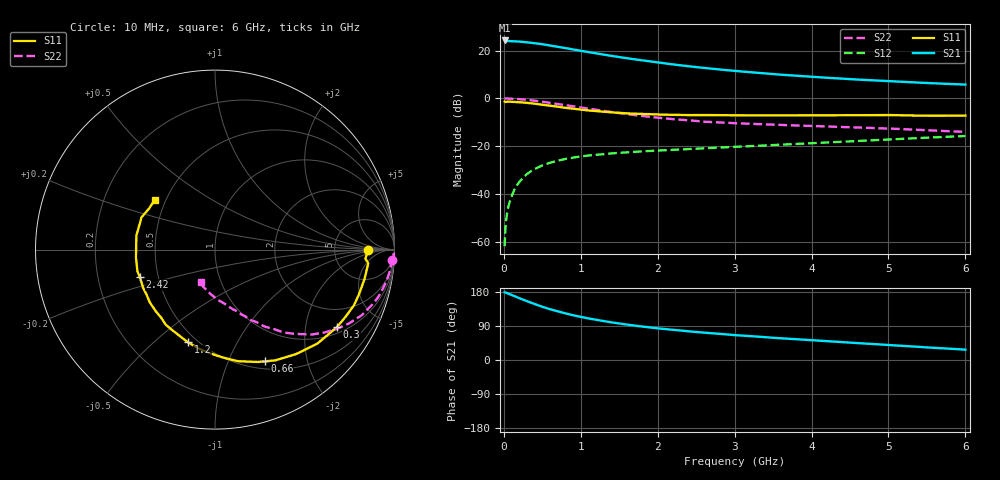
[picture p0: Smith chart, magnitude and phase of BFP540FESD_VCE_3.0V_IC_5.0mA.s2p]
! Infineon Technologies  Discrete & RF Semiconductors
! BFP540FESD
! VCE =  3.0 V,  IC =  5.0 mA
! Common Emitter S-Parameters:  Nov 2015
# GHz  S  MA  R  50
!  f  S11  S21  S12  S22
! GHz  MAG  ANG  MAG  ANG  MAG  ANG  MAG  ANG
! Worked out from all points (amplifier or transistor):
!   210 points, 10 MHz to 6 GHz, reference 50 ohm
!   highest |S21| = 24.3 dB at 10 MHz (marker M1)
!   |S21| within 3 dB of that: start of sweep to 764.8 MHz
!   unconditionally stable (mu >= 1): 2.755 GHz to end of sweep
!   at 185 MHz: K = 0.08, MSG = 29.8 dB, |S12| = -35.8 dB
!   at 1.52 GHz: K = 0.62, MSG = 20.0 dB, |S12| = -22.8 dB
!   at 6 GHz: K = 1.32, MAG = 7.4 dB, |S12| = -15.8 dB
!   S11 on the Smith chart (normalised r, x): 10 MHz: 13, -0; 300 MHz: 1.21, -2.98; 660 MHz: 0.59, -1.37; 1.2 GHz: 0.45, -0.65; 2.42 GHz: 0.39, -0.15; 6 GHz: 0.43, +0.30
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0.01  0.855 -0.2  16.34 178.7  0.0008 84.8  0.9902 -3.5
0.02  0.8391 -3.4  15.72 178.3  0.0018 93.9  0.9979 -1.3
0.05  0.8572 -5.1  15.9 175.9  0.0047 82.9  0.9871 -3.2
0.075  0.8529 -7.8  15.85 173.8  0.0067 82.0  0.985 -4.8
0.15  0.8404 -17.0  15.76 167.6  0.0134 82.0  0.9749 -9.5
0.2  0.8342 -21.8  15.49 163.1  0.0176 79.1  0.9623 -12.6
0.3  0.8048 -32.5  15 155.2  0.026 74.5  0.9335 -18.5
0.4  0.7748 -42.4  14.33 147.6  0.0331 69.5  0.8964 -24.0
0.5  0.7368 -52.2  13.65 140.5  0.0393 63.9  0.8512 -29.0
0.66  0.6814 -66.0  12.34 130.8  0.0475 58.9  0.7797 -35.7
0.8  0.6344 -78.5  11.32 122.9  0.0539 54.1  0.7179 -41.2
0.9  0.6042 -85.5  10.58 118.0  0.0574 52.1  0.6773 -44.1
1.02  0.5746 -93.8  9.797 112.9  0.0613 49.7  0.6335 -47.6
1.2  0.5377 -106.3  8.725 105.9  0.0656 46.6  0.5727 -52.1
1.5  0.5001 -123.4  7.324 96.2  0.0722 43.3  0.4907 -58.6
1.78  0.4722 -136.5  6.295 88.6  0.077 41.3  0.4322 -64.0
2.02  0.4568 -146.6  5.598 83.1  0.0809 40.0  0.3909 -67.8
2.42  0.4459 -160.1  4.667 75.3  0.0867 39.1  0.3457 -73.5
3.1  0.4413 -175.9  3.645 64.5  0.0981 38.4  0.2971 -82.1
4.1  0.4438 168.4  2.765 51.0  0.117 37.5  0.2604 -92.0
5.1  0.4436 154.6  2.256 38.3  0.1399 34.4  0.2298 -102.0
6  0.4355 140.7  1.943 27.3  0.1626 30.3  0.198 -113.8
